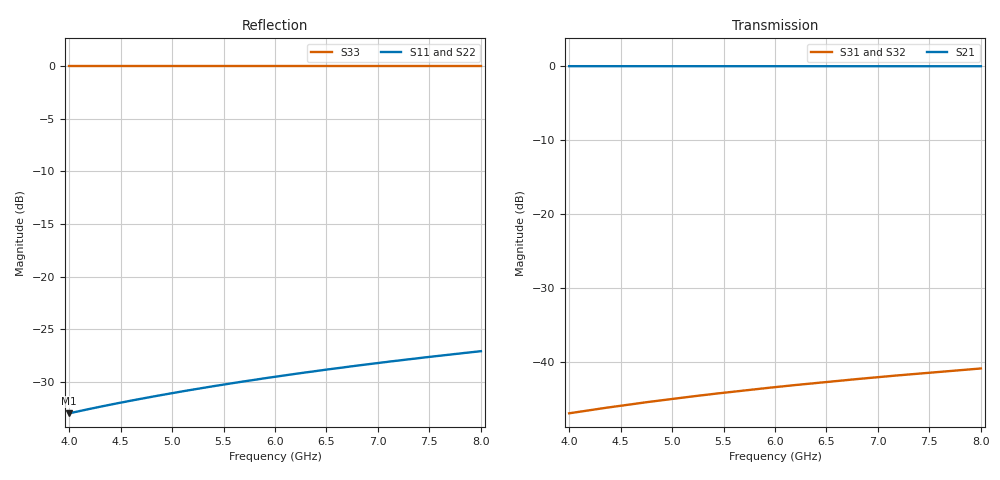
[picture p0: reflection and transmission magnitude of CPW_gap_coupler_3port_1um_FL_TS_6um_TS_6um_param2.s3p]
! Sonnet Data File
! From: em Version : 15.52
! From Project: CPW_gap_coupler_3port_1um_FL_TS_6um
! Data is De-embedded
! Data File Written: 08/14/2018 17:24:40
!< HDATE 08/14/2018 17:19:51
!< MDATE 08/14/2018 17:19:51
!< PARAMS
!< gap = 2.0
!< cpwS = 5.0
!< cpwS1 = 5.0
!< feedW = 12.0
!< feedS1 = 5.0
!< cond_length = 144.0
!< inner_length = 126.0
!< hangerW = 12.0000175
!< open_gap = 22.0
!< coupler_length = 150.0
!< END PARAMS
# GHZ S MA R 50.00000
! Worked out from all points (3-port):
!   201 points, 4 GHz to 8 GHz, reference 50 ohm
!   strongest paths, dB at 4 GHz, 5 GHz, 6 GHz, 7 GHz, 8 GHz:
!     S21: 0.0, 0.0, 0.0, 0.0, 0.0
!     S31: -47.0, -45.0, -43.4, -42.1, -40.9
!     S32: -47.0, -45.0, -43.5, -42.1, -40.9
!   lowest |S11| = -33.0 dB at 4 GHz (marker M1), VSWR 1.05, Z = 50.3 + j2.23 ohm
!   |S11| at or under -10 dB: start of sweep to end of sweep
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4  0.02237 81.6  0.9997 -8.9  0.004486 86.1
   0.9997 -8.9  0.02237 80.6  0.004479 82.0
   0.004486 86.1  0.004479 82.0  1 -4.2
4.2  0.02348 81.2  0.9997 -9.4  0.004711 85.9
     0.9997 -9.4  0.02348 80.1  0.004704 81.6
     0.004711 85.9  0.004704 81.6  1 -4.4
4.44  0.02481 80.7  0.9997 -9.9  0.004981 85.7
      0.9997 -9.9  0.02481 79.6  0.004973 81.2
      0.004981 85.7  0.004973 81.2  1 -4.7
4.92  0.02746 79.6  0.9996 -11.0  0.005522 85.2
      0.9996 -11.0  0.02746 78.4  0.005511 80.2
      0.005522 85.2  0.005511 80.2  1 -5.2
5.42  0.03021 78.6  0.9995 -12.1  0.006087 84.7
      0.9995 -12.1  0.03021 77.3  0.006071 79.2
      0.006087 84.7  0.006071 79.2  1 -5.7
6  0.03338 77.4  0.9994 -13.4  0.006743 84.1
   0.9994 -13.4  0.03338 75.9  0.006722 78.1
   0.006743 84.1  0.006722 78.1  1 -6.3
6.48  0.03599 76.4  0.9993 -14.5  0.007287 83.6
      0.9993 -14.5  0.036 74.8  0.007261 77.1
      0.007287 83.6  0.007261 77.1  0.9999 -6.8
6.96  0.03859 75.4  0.9992 -15.6  0.007832 83.2
      0.9992 -15.6  0.03859 73.6  0.0078 76.2
      0.007832 83.2  0.0078 76.2  0.9999 -7.3
7.46  0.04128 74.3  0.9991 -16.7  0.008401 82.7
      0.9991 -16.7  0.04129 72.5  0.008361 75.2
      0.008401 82.7  0.008361 75.2  0.9999 -7.9
8  0.04417 73.2  0.999 -17.9  0.009017 82.1
   0.999 -17.9  0.04418 71.2  0.008968 74.1
   0.009017 82.1  0.008968 74.1  0.9999 -8.4
